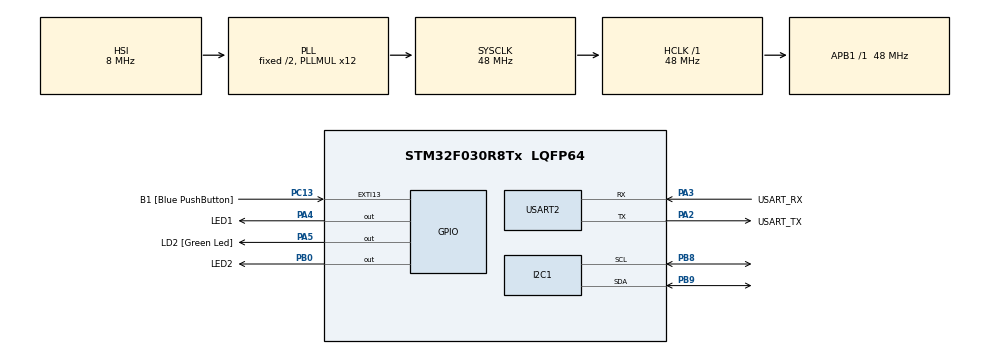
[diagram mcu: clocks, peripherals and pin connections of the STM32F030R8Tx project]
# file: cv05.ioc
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Dma.Request0=USART2_RX
Dma.USART2_RX.0.Direction=DMA_PERIPH_TO_MEMORY
Dma.USART2_RX.0.Instance=DMA1_Channel5
Dma.USART2_RX.0.MemDataAlignment=DMA_MDATAALIGN_BYTE
Dma.USART2_RX.0.MemInc=DMA_MINC_ENABLE
Dma.USART2_RX.0.Mode=DMA_CIRCULAR
Dma.USART2_RX.0.PeriphDataAlignment=DMA_PDATAALIGN_BYTE
Dma.USART2_RX.0.PeriphInc=DMA_PINC_DISABLE
Dma.USART2_RX.0.Priority=DMA_PRIORITY_LOW
Mcu.Family=STM32F0
Mcu.Name=STM32F030R8Tx
Mcu.Package=LQFP64
NVIC.DMA1_Channel4_5_IRQn=true\:0\:0\:false\:false\:true\:false\:true\:true
PA13.GPIO_Label=TMS
PA13.Mode=Serial_Wire
PA13.Signal=SYS_SWDIO
PA14.GPIO_Label=TCK
PA14.Mode=Serial_Wire
PA14.Signal=SYS_SWCLK
PA2.GPIO_Label=USART_TX
PA2.GPIO_Mode=GPIO_MODE_AF_PP
PA2.GPIO_PuPd=GPIO_NOPULL
PA2.GPIO_Speed=GPIO_SPEED_FREQ_LOW
PA2.Mode=Asynchronous
PA2.Signal=USART2_TX
PA3.GPIO_Label=USART_RX
PA3.GPIO_Mode=GPIO_MODE_AF_PP
PA3.GPIO_PuPd=GPIO_NOPULL
PA3.GPIO_Speed=GPIO_SPEED_FREQ_LOW
PA3.Mode=Asynchronous
PA3.Signal=USART2_RX
PA4.GPIO_Label=LED1
PA4.Signal=GPIO_Output
PA5.GPIO_Label=LD2 [Green Led]
PA5.GPIO_Mode=GPIO_MODE_OUTPUT_PP
PA5.GPIO_PuPd=GPIO_NOPULL
PA5.GPIO_Speed=GPIO_SPEED_FREQ_LOW
PA5.Signal=GPIO_Output
PB0.GPIO_Label=LED2
PB0.Signal=GPIO_Output
PB8.Mode=I2C
PB8.Signal=I2C1_SCL
PB9.Mode=I2C
PB9.Signal=I2C1_SDA
PC13.GPIO_Label=B1 [Blue PushButton]
PC13.GPIO_ModeDefaultEXTI=GPIO_MODE_IT_FALLING
PC13.Signal=GPXTI13
PC14-OSC32_IN.Mode=LSE-External-Oscillator
PC14-OSC32_IN.Signal=RCC_OSC32_IN
PC15-OSC32_OUT.Mode=LSE-External-Oscillator
PC15-OSC32_OUT.Signal=RCC_OSC32_OUT
PF0-OSC_IN.Mode=HSE-External-Clock-Source
PF0-OSC_IN.Signal=RCC_OSC_IN
PF1-OSC_OUT.Signal=RCC_OSC_OUT
ProjectManager.HeapSize=0x200
ProjectManager.StackSize=0x400
ProjectManager.TargetToolchain=STM32CubeIDE
RCC.AHBFreq_Value=48000000
RCC.APB1Freq_Value=48000000
RCC.APB1TimFreq_Value=48000000
RCC.HCLKFreq_Value=48000000
RCC.PLLMUL=RCC_PLL_MUL12
RCC.SYSCLKFreq_VALUE=48000000
RCC.SYSCLKSource=RCC_SYSCLKSOURCE_PLLCLK
USART2.VirtualMode-Asynchronous=VM_ASYNC
board=NUCLEO-F030R8

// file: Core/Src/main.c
/* USER CODE BEGIN Header */
/**
 ******************************************************************************
 * @file           : main.c
 * @brief          : Main program body
 ******************************************************************************
 * @attention
 *
 * Copyright (c) 2022 STMicroelectronics.
 * All rights reserved.
 *
 * This software is licensed under terms that can be found in the LICENSE file
 * in the root directory of this software component.
 * If no LICENSE file comes with this software, it is provided AS-IS.
 *
 ******************************************************************************
 */
/* USER CODE END Header */
#include "main.h"

/* USER CODE BEGIN Includes */
#include <stdio.h>
#include <string.h>
#include <stdlib.h>
/* USER CODE END Includes */

/* USER CODE BEGIN PD */
#define RX_BUFFER_LEN  64
#define CMD_BUFFER_LEN 256
#define EEPROM_ADDR    0xA0
#define uart_rx_write_ptr (RX_BUFFER_LEN - hdma_usart2_rx.Instance->CNDTR)
/* USER CODE END PD */

I2C_HandleTypeDef hi2c1;

UART_HandleTypeDef huart2;
DMA_HandleTypeDef hdma_usart2_rx;

/* USER CODE BEGIN PV */
static uint8_t uart_rx_buf[RX_BUFFER_LEN];
static volatile uint16_t uart_rx_read_ptr = 0;
/* USER CODE END PV */

void SystemClock_Config(void);
static void MX_GPIO_Init(void);
static void MX_DMA_Init(void);
static void MX_USART2_UART_Init(void);
static void MX_I2C1_Init(void);

/* USER CODE BEGIN 0 */
int _write(int file, char const *buf, int n) {
	HAL_UART_Transmit(&huart2, (uint8_t*)(buf), n, HAL_MAX_DELAY);
	return n;
}

static void uart_process_command(char *cmd) {
	char *token;
	token = strtok(cmd, " ");

	// The HELLO command
	if (strcasecmp(token, "HELLO") == 0) {
		printf("Hello World!\n");

	// LED1 set or reset
	} else if (strcasecmp(token, "LED1") == 0) {
		token = strtok(NULL, " ");
		if (strcasecmp(token, "ON") == 0) {
			// Turn the LED1 on
			HAL_GPIO_WritePin(LED1_GPIO_Port, LED1_Pin, 1);
		} else if (strcasecmp(token, "OFF") == 0) {
			// Turn the LED1 off
			HAL_GPIO_WritePin(LED1_GPIO_Port, LED1_Pin, 0);
		} else {
			// Unknown value received
			printf("Unknown value: %s\n", token);
		}

	// LED1 set or reset
	} else if (strcasecmp(token, "LED2") == 0) {
		token = strtok(NULL, " ");
		if (strcasecmp(token, "ON") == 0) {
			// Turn the LED1 on
			HAL_GPIO_WritePin(LED2_GPIO_Port, LED2_Pin, 1);
		} else if (strcasecmp(token, "OFF") == 0) {
			// Turn the LED1 off
			HAL_GPIO_WritePin(LED2_GPIO_Port, LED2_Pin, 0);
		} else {
			// Unknown value received
			printf("Unknown value: %s\n", token);
		}

	// Print LEDs status
	} else if (strcasecmp(token, "STATUS") == 0) {
		printf("LED1: %3s; LED2: %3s\n",
				HAL_GPIO_ReadPin(LED1_GPIO_Port, LED1_Pin) ? "ON" : "OFF",
				HAL_GPIO_ReadPin(LED2_GPIO_Port, LED2_Pin) ? "ON" : "OFF"
			);

	// Read a byte from memory
	} else if (strcasecmp(token, "READ") == 0) {
		token = strtok(NULL, " ");
		uint16_t addr = atoi(token);
		uint8_t value;

		HAL_I2C_Mem_Read(&hi2c1, EEPROM_ADDR, addr, I2C_MEMADD_SIZE_16BIT, &value, 1, 1000);
		printf("Addr. 0x%04X -> 0x%02X\n", addr, value);

	// Write the byte to memory
	} else if (strcasecmp(token, "WRITE") == 0) {
		token = strtok(NULL, " ");
		uint16_t addr = atoi(token);
		token = strtok(NULL, " ");
		uint8_t value = atoi(token);

		HAL_I2C_Mem_Write(&hi2c1, EEPROM_ADDR, addr, I2C_MEMADD_SIZE_16BIT, &value, 1, 1000);
		while (HAL_I2C_IsDeviceReady(&hi2c1, EEPROM_ADDR, 300, 1000) == HAL_TIMEOUT);
		printf("OK\n");

	// Dump 16 first bytes from memory
	} else if (strcasecmp(token, "DUMP") == 0) {
		uint8_t value;

		for (int addr = 0; addr < 16; addr++) {
			HAL_I2C_Mem_Read(&hi2c1, EEPROM_ADDR, addr, I2C_MEMADD_SIZE_16BIT, &value, 1, 1000);
			printf("%02X", value);
			if ((addr % 8) == 7) {
				printf("\n");
			} else {
				printf(" ");
			}
		}

	// Anything else is unknown command
	} else {
		printf("Unknown command: %s\n", token);

	}

}

static void uart_byte_available(uint8_t c) {
	static uint16_t cnt;
	static char data[CMD_BUFFER_LEN];

	if (cnt < CMD_BUFFER_LEN && c >= 32 && c <= 126)
		data[cnt++] = c;
	if ((c == '\n' || c == '\r') && cnt > 0) {
		data[cnt] = '\0';
		uart_process_command(data);
		cnt = 0;
	}
}
/* USER CODE END 0 */

int main(void)
{

  /* MCU Configuration--------------------------------------------------------*/

  /* Reset of all peripherals, Initializes the Flash interface and the Systick. */
  HAL_Init();

  /* Configure the system clock */
  SystemClock_Config();

  /* Initialize all configured peripherals */
  MX_GPIO_Init();
  MX_DMA_Init();
  MX_USART2_UART_Init();
  MX_I2C1_Init();
  /* USER CODE BEGIN 2 */
	HAL_UART_Receive_DMA(&huart2, uart_rx_buf, RX_BUFFER_LEN);
  /* USER CODE END 2 */

  /* Infinite loop */
  /* USER CODE BEGIN WHILE */
	while (1) {
		while (uart_rx_read_ptr != uart_rx_write_ptr) {
			uint8_t b = uart_rx_buf[uart_rx_read_ptr];
			if (++uart_rx_read_ptr >= RX_BUFFER_LEN)
				uart_rx_read_ptr = 0; // increase read pointer
			uart_byte_available(b); // process every received byte with the RX state machine
		}

    /* USER CODE END WHILE */

	}
}

void SystemClock_Config(void)
{
  RCC_OscInitTypeDef RCC_OscInitStruct = {0};
  RCC_ClkInitTypeDef RCC_ClkInitStruct = {0};
  RCC_PeriphCLKInitTypeDef PeriphClkInit = {0};

  /** Initializes the RCC Oscillators according to the specified parameters
  * in the RCC_OscInitTypeDef structure.
  */
  RCC_OscInitStruct.OscillatorType = RCC_OSCILLATORTYPE_HSI;
  RCC_OscInitStruct.HSIState = RCC_HSI_ON;
  RCC_OscInitStruct.HSICalibrationValue = RCC_HSICALIBRATION_DEFAULT;
  RCC_OscInitStruct.PLL.PLLState = RCC_PLL_ON;
  RCC_OscInitStruct.PLL.PLLSource = RCC_PLLSOURCE_HSI;
  RCC_OscInitStruct.PLL.PLLMUL = RCC_PLL_MUL12;
  RCC_OscInitStruct.PLL.PREDIV = RCC_PREDIV_DIV1;
  if (HAL_RCC_OscConfig(&RCC_OscInitStruct) != HAL_OK)
  {
    Error_Handler();
  }

  /** Initializes the CPU, AHB and APB buses clocks
  */
  RCC_ClkInitStruct.ClockType = RCC_CLOCKTYPE_HCLK|RCC_CLOCKTYPE_SYSCLK
                              |RCC_CLOCKTYPE_PCLK1;
  RCC_ClkInitStruct.SYSCLKSource = RCC_SYSCLKSOURCE_PLLCLK;
  RCC_ClkInitStruct.AHBCLKDivider = RCC_SYSCLK_DIV1;
  RCC_ClkInitStruct.APB1CLKDivider = RCC_HCLK_DIV1;

  if (HAL_RCC_ClockConfig(&RCC_ClkInitStruct, FLASH_LATENCY_1) != HAL_OK)
  {
    Error_Handler();
  }
  PeriphClkInit.PeriphClockSelection = RCC_PERIPHCLK_I2C1;
  PeriphClkInit.I2c1ClockSelection = RCC_I2C1CLKSOURCE_HSI;
  if (HAL_RCCEx_PeriphCLKConfig(&PeriphClkInit) != HAL_OK)
  {
    Error_Handler();
  }
}

static void MX_I2C1_Init(void)
{

  hi2c1.Instance = I2C1;
  hi2c1.Init.Timing = 0x2000090E;
  hi2c1.Init.OwnAddress1 = 0;
  hi2c1.Init.AddressingMode = I2C_ADDRESSINGMODE_7BIT;
  hi2c1.Init.DualAddressMode = I2C_DUALADDRESS_DISABLE;
  hi2c1.Init.OwnAddress2 = 0;
  hi2c1.Init.OwnAddress2Masks = I2C_OA2_NOMASK;
  hi2c1.Init.GeneralCallMode = I2C_GENERALCALL_DISABLE;
  hi2c1.Init.NoStretchMode = I2C_NOSTRETCH_DISABLE;
  if (HAL_I2C_Init(&hi2c1) != HAL_OK)
  {
    Error_Handler();
  }

  /** Configure Analogue filter
  */
  if (HAL_I2CEx_ConfigAnalogFilter(&hi2c1, I2C_ANALOGFILTER_ENABLE) != HAL_OK)
  {
    Error_Handler();
  }

  /** Configure Digital filter
  */
  if (HAL_I2CEx_ConfigDigitalFilter(&hi2c1, 0) != HAL_OK)
  {
    Error_Handler();
  }

}

static void MX_USART2_UART_Init(void)
{

  huart2.Instance = USART2;
  huart2.Init.BaudRate = 38400;
  huart2.Init.WordLength = UART_WORDLENGTH_8B;
  huart2.Init.StopBits = UART_STOPBITS_1;
  huart2.Init.Parity = UART_PARITY_NONE;
  huart2.Init.Mode = UART_MODE_TX_RX;
  huart2.Init.HwFlowCtl = UART_HWCONTROL_NONE;
  huart2.Init.OverSampling = UART_OVERSAMPLING_16;
  huart2.Init.OneBitSampling = UART_ONE_BIT_SAMPLE_DISABLE;
  huart2.AdvancedInit.AdvFeatureInit = UART_ADVFEATURE_NO_INIT;
  if (HAL_UART_Init(&huart2) != HAL_OK)
  {
    Error_Handler();
  }

}

static void MX_DMA_Init(void)
{

  /* DMA controller clock enable */
  __HAL_RCC_DMA1_CLK_ENABLE();

  /* DMA interrupt init */
  /* DMA1_Channel4_5_IRQn interrupt configuration */
  HAL_NVIC_SetPriority(DMA1_Channel4_5_IRQn, 0, 0);
  HAL_NVIC_EnableIRQ(DMA1_Channel4_5_IRQn);

}

static void MX_GPIO_Init(void)
{
  GPIO_InitTypeDef GPIO_InitStruct = {0};

  /* GPIO Ports Clock Enable */
  __HAL_RCC_GPIOC_CLK_ENABLE();
  __HAL_RCC_GPIOF_CLK_ENABLE();
  __HAL_RCC_GPIOA_CLK_ENABLE();
  __HAL_RCC_GPIOB_CLK_ENABLE();

  /*Configure GPIO pin Output Level */
  HAL_GPIO_WritePin(GPIOA, GPIO_PIN_4|GPIO_PIN_5, GPIO_PIN_RESET);

  /*Configure GPIO pin Output Level */
  HAL_GPIO_WritePin(GPIOB, GPIO_PIN_0, GPIO_PIN_RESET);

  /*Configure GPIO pin : PC13 */
  GPIO_InitStruct.Pin = GPIO_PIN_13;
  GPIO_InitStruct.Mode = GPIO_MODE_IT_FALLING;
  GPIO_InitStruct.Pull = GPIO_NOPULL;
  HAL_GPIO_Init(GPIOC, &GPIO_InitStruct);

  /*Configure GPIO pins : PA4 PA5 */
  GPIO_InitStruct.Pin = GPIO_PIN_4|GPIO_PIN_5;
  GPIO_InitStruct.Mode = GPIO_MODE_OUTPUT_PP;
  GPIO_InitStruct.Pull = GPIO_NOPULL;
  GPIO_InitStruct.Speed = GPIO_SPEED_FREQ_LOW;
  HAL_GPIO_Init(GPIOA, &GPIO_InitStruct);

  /*Configure GPIO pin : PB0 */
  GPIO_InitStruct.Pin = GPIO_PIN_0;
  GPIO_InitStruct.Mode = GPIO_MODE_OUTPUT_PP;
  GPIO_InitStruct.Pull = GPIO_NOPULL;
  GPIO_InitStruct.Speed = GPIO_SPEED_FREQ_LOW;
  HAL_GPIO_Init(GPIOB, &GPIO_InitStruct);

}

void Error_Handler(void)
{
	__disable_irq();
	while (1) {
	}
}
